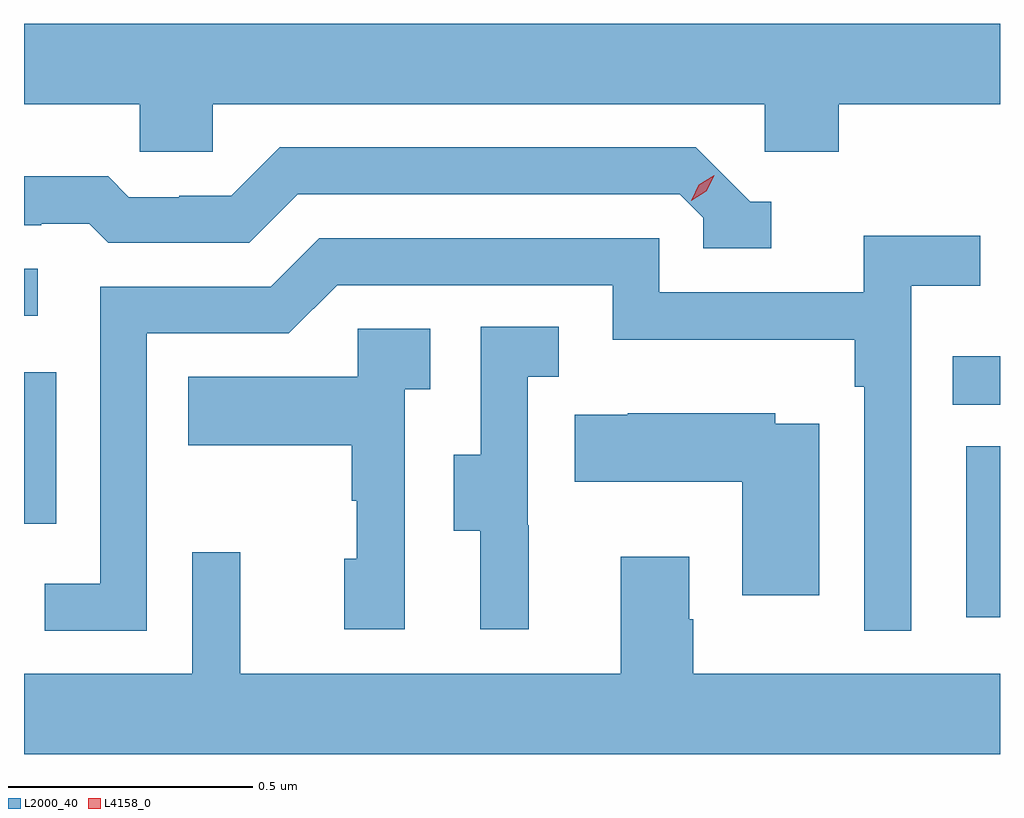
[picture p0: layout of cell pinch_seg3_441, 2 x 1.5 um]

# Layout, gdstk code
import gdstk
lib = gdstk.Library(unit=1e-6, precision=1e-09)
def R(c, l, rs):  # rectangles x0, y0, x1, y1
    for r in rs: c.add(gdstk.rectangle(r[:2], r[2:], *l))
def P(c, l, *ps):  # polygons
    for p in ps: c.add(gdstk.Polygon(p, *l))
L2000_40 = (2000, 40)
L4158_0 = (4158, 0)

pinch_seg3_441 = lib.new_cell('pinch_seg3_441')
R(pinch_seg3_441, L2000_40, [(935.033,673.224,935.102,673.575), (933.102,673.416,933.168,673.726), (935.005,673.66,935.102,673.759), (933.102,673.842,933.13,673.938)])
P(pinch_seg3_441, L2000_40, [(933.489,674.276),(934.62,674.276),(934.62,674.178),(934.772,674.178),(934.772,674.276),(935.102,674.276),(935.102,674.44),(933.102,674.44),(933.102,674.276),(933.339,674.276),(933.339,674.178),(933.489,674.178)],
  [(934.633,674.076),(934.59,674.076),(934.479,674.187),(933.626,674.187),(933.527,674.088),(933.42,674.088),(933.42,674.085),(933.317,674.085),(933.275,674.128),(933.102,674.128),(933.102,674.028),(933.137,674.028),(933.137,674.031),(933.236,674.031),(933.275,673.992),(933.564,673.992),(933.663,674.091),(934.446,674.091),(934.494,674.043),(934.494,673.98),(934.633,673.98)],
  [(933.354,673.806),(933.645,673.806),(933.744,673.905),(934.308,673.905),(934.308,673.793),(934.804,673.793),(934.804,673.697),(934.824,673.697),(934.824,673.197),(934.92,673.197),(934.92,673.904),(935.062,673.904),(935.062,674.006),(934.823,674.006),(934.823,673.89),(934.404,673.89),(934.404,674.001),(933.707,674.001),(933.608,673.902),(933.258,673.902),(933.258,673.293),(933.145,673.293),(933.145,673.197),(933.354,673.197)],
  [(934.136,673.413),(934.134,673.413),(934.134,673.717),(934.198,673.717),(934.198,673.82),(934.038,673.82),(934.038,673.557),(933.983,673.557),(933.983,673.402),(934.037,673.402),(934.037,673.2),(934.136,673.2)],
  [(933.882,673.691),(933.934,673.691),(933.934,673.815),(933.786,673.815),(933.786,673.717),(933.439,673.717),(933.439,673.577),(933.774,673.577),(933.774,673.463),(933.784,673.463),(933.784,673.344),(933.758,673.344),(933.758,673.2),(933.882,673.2)],
  [(934.732,673.621),(934.641,673.621),(934.641,673.642),(934.339,673.642),(934.339,673.639),(934.231,673.639),(934.231,673.502),(934.574,673.502),(934.574,673.269),(934.732,673.269)],
  [(935.102,673.108),(934.473,673.108),(934.473,673.22),(934.465,673.22),(934.465,673.348),(934.325,673.348),(934.325,673.108),(933.545,673.108),(933.545,673.357),(933.447,673.357),(933.447,673.108),(933.102,673.108),(933.102,672.944),(935.102,672.944)])
P(pinch_seg3_441, L4158_0, [(934.469,674.078),(934.469,674.078),(934.485,674.111),(934.516,674.13),(934.516,674.13),(934.516,674.129),(934.5,674.097),(934.469,674.078)])

lib.write_gds('pinch_seg3_441.gds')
